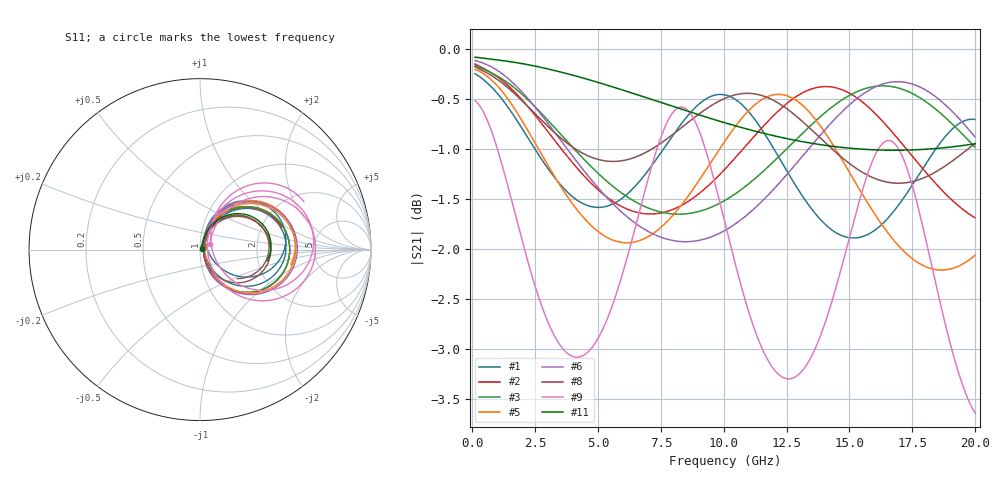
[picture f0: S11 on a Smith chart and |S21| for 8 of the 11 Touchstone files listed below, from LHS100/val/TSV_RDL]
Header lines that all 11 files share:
! Touchstone file exported from HFSS 2026.1.0
!  Design:  TSV_RDL
! Variables:
! Terminal data exported
# GHz S MA R 50.000000
Fixed: h_ox = 20um, h_rdl = 5um, h_via = 3um, m_sub = 200um, s_tmrdl = 10um, w_sub = 500um
Also varied, not listed: x_tsv_center2, x_tsv_center3, x_tsv_center4, x_tsv_center5, x_tsv_center6
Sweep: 100 MHz to 20 GHz
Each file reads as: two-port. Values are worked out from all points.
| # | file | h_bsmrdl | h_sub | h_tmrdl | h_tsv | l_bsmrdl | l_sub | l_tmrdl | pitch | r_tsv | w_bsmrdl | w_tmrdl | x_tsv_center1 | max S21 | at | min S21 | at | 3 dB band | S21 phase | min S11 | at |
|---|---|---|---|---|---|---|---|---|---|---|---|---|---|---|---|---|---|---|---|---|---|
| 1 | dut0.s2p | 2.29um | 76.3um | 4.46um | 76.3um | 660.77um | 5610um | 774.8um | 47.33um | 12.84um | 27.7um | 15.13um | 782.365um | -0.25 dB | 100 MHz | -1.9 dB | 15.2 GHz | 100 MHz-20 GHz | -172 deg at 10.1 GHz | -31.8 dB | 10 GHz |
| 2 | dut1.s2p | 5.52um | 53.21um | 3.34um | 53.21um | 277.17um | 4469.85um | 778.16um | 54.3um | 13.48um | 13.76um | 28.14um | 792.23um | -0.15 dB | 100 MHz | -1.7 dB | 20 GHz | 100 MHz-20 GHz | -122 deg at 10.1 GHz | -33.2 dB | 14.2 GHz |
| 3 | dut3.s2p | 5.9um | 78.29um | 2.36um | 78.29um | 321.2um | 3604.61um | 524.11um | 50.2um | 4.65um | 22.79um | 25.4um | 536.81um | -0.16 dB | 100 MHz | -1.6 dB | 8.2 GHz | 100 MHz-20 GHz | -106 deg at 10.1 GHz | -33.1 dB | 16.5 GHz |
| 4 | dut4.s2p | 3.6um | 99.54um | 2.4um | 99.54um | 999.5um | 4325.08um | 190.08um | 56.1um | 5.65um | 28.61um | 26.81um | 203.485um | -0.16 dB | 100 MHz | -1.7 dB | 20 GHz | 100 MHz-20 GHz | -130 deg at 10.1 GHz | -33.5 dB | 13.4 GHz |
| 5 | dut5.s2p | 4um | 83.3um | 5.7um | 83.3um | 735.41um | 4513.63um | 456.21um | 48.6um | 14.2um | 14.97um | 12.55um | 462.485um | -0.20 dB | 100 MHz | -2.2 dB | 18.7 GHz | 100 MHz-20 GHz | -138 deg at 10.1 GHz | -30.7 dB | 12.3 GHz |
| 6 | dut6.s2p | 4.25um | 61.28um | 4.8um | 61.28um | 696.84um | 3628.97um | 253.39um | 57.68um | 11.3um | 24.33um | 17.3um | 262.04um | -0.11 dB | 100 MHz | -1.9 dB | 8.5 GHz | 100 MHz-20 GHz | -101 deg at 10.1 GHz | -34.5 dB | 100 MHz |
| 7 | dut7.s2p | 2.16um | 71.75um | 3.68um | 71.75um | 398.26um | 4526.43um | 716.9um | 50.58um | 14.35um | 11.22um | 10.13um | 721.965um | -0.39 dB | 100 MHz | -3.0 dB | 18.5 GHz | 100 MHz-20 GHz | -136 deg at 10.1 GHz | -28.0 dB | 12.2 GHz |
| 8 | dut8.s2p | 2.49um | 66.53um | 5.51um | 66.53um | 545.27um | 5490.84um | 827.21um | 43.07um | 9.81um | 25.67um | 23.06um | 838.74um | -0.17 dB | 100 MHz | -1.3 dB | 17 GHz | 100 MHz-20 GHz | -157 deg at 10.1 GHz | -33.8 dB | 11.2 GHz |
| 9 | dut16.s2p | 4.5um | 52.26um | 2.94um | 52.26um | 939.44um | 7277.59um | 986.28um | 58.4um | 2.02um | 26.7um | 11.35um | 991.955um | -0.51 dB | 100 MHz | -3.6 dB | 20 GHz | 100 MHz-19.7 GHz | 142 deg at 10.1 GHz | -27.2 dB | 8.4 GHz |
| 10 | dut18.s2p | 2.83um | 96.6um | 3.84um | 96.6um | 566.38um | 5965.09um | 942.72um | 52.68um | 11.94um | 10.71um | 20.98um | 953.21um | -0.32 dB | 100 MHz | -2.4 dB | 14.6 GHz | 100 MHz-20 GHz | 172 deg at 10.1 GHz | -30.0 dB | 9.7 GHz |
| 11 | dut19.s2p | 4.91um | 87.44um | 2.15um | 87.44um | 130.3um | 1456.19um | 138.46um | 42.76um | 7.77um | 20.7um | 16.45um | 146.685um | -0.08 dB | 100 MHz | -1.0 dB | 16.8 GHz | 100 MHz-20 GHz | -53 deg at 10.1 GHz | -39.7 dB | 100 MHz |
